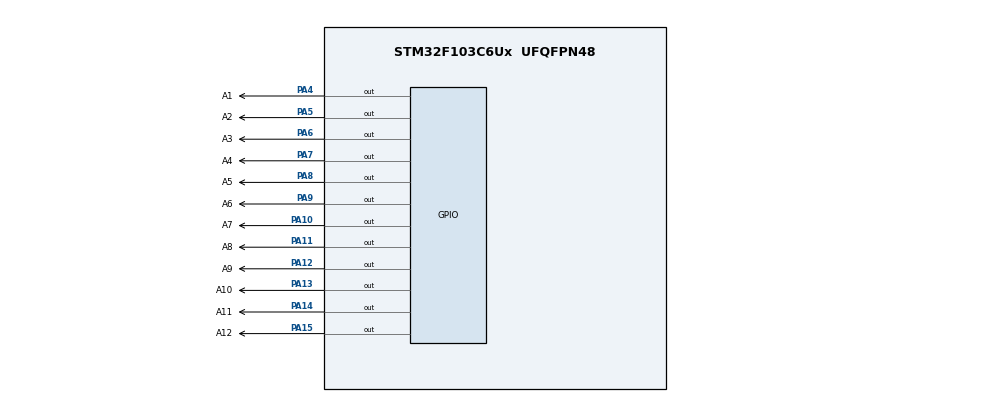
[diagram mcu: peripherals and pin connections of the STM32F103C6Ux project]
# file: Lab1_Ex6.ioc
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Mcu.Family=STM32F1
Mcu.Name=STM32F103C6Ux
Mcu.Package=UFQFPN48
NVIC.PriorityGroup=NVIC_PRIORITYGROUP_4
PA10.GPIO_Label=A7
PA10.Signal=GPIO_Output
PA11.GPIO_Label=A8
PA11.Signal=GPIO_Output
PA12.GPIO_Label=A9
PA12.Signal=GPIO_Output
PA13.GPIO_Label=A10
PA13.Signal=GPIO_Output
PA14.GPIO_Label=A11
PA14.Signal=GPIO_Output
PA15.GPIO_Label=A12
PA15.Signal=GPIO_Output
PA4.GPIO_Label=A1
PA4.Signal=GPIO_Output
PA5.GPIO_Label=A2
PA5.Signal=GPIO_Output
PA6.GPIO_Label=A3
PA6.Signal=GPIO_Output
PA7.GPIO_Label=A4
PA7.Signal=GPIO_Output
PA8.GPIO_Label=A5
PA8.Signal=GPIO_Output
PA9.GPIO_Label=A6
PA9.Signal=GPIO_Output
ProjectManager.HeapSize=0x200
ProjectManager.StackSize=0x400
ProjectManager.TargetToolchain=STM32CubeIDE
RCC.APB1Freq_Value=8000000
RCC.APB2Freq_Value=8000000
VP_SYS_VS_ND.Mode=No_Debug
board=custom

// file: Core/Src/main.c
/* USER CODE BEGIN Header */
/**
  ******************************************************************************
  * @file           : main.c
  * @brief          : Main program body
  ******************************************************************************
  * @attention
  *
  * <h2><center>&copy; Copyright (c) 2025 STMicroelectronics.
  * All rights reserved.</center></h2>
  *
  * This software component is licensed by ST under BSD 3-Clause license,
  * the "License"; You may not use this file except in compliance with the
  * License. You may obtain a copy of the License at:
  *                        opensource.org/licenses/BSD-3-Clause
  *
  ******************************************************************************
  */
/* USER CODE END Header */
#include "main.h"

void SystemClock_Config(void);
static void MX_GPIO_Init(void);

int main(void)
{

  /* MCU Configuration--------------------------------------------------------*/

  /* Reset of all peripherals, Initializes the Flash interface and the Systick. */
  HAL_Init();

  /* Configure the system clock */
  SystemClock_Config();

  /* Initialize all configured peripherals */
  MX_GPIO_Init();

  /* Infinite loop */
  /* USER CODE BEGIN WHILE */
  while (1)
  {

	  HAL_GPIO_WritePin(A1_GPIO_Port, A1_Pin, GPIO_PIN_RESET);

	  HAL_Delay(1000);

	  HAL_GPIO_WritePin(A1_GPIO_Port, A1_Pin, GPIO_PIN_SET);
	  HAL_GPIO_WritePin(A2_GPIO_Port, A2_Pin, GPIO_PIN_RESET);

	  HAL_Delay(1000);

	  HAL_GPIO_WritePin(A2_GPIO_Port, A2_Pin, GPIO_PIN_SET);
	  HAL_GPIO_WritePin(A3_GPIO_Port, A3_Pin, GPIO_PIN_RESET);

	  HAL_Delay(1000);

	  HAL_GPIO_WritePin(A3_GPIO_Port, A3_Pin, GPIO_PIN_SET);
	  HAL_GPIO_WritePin(A4_GPIO_Port, A4_Pin, GPIO_PIN_RESET);

	  HAL_Delay(1000);

	  HAL_GPIO_WritePin(A4_GPIO_Port, A4_Pin, GPIO_PIN_SET);
	  HAL_GPIO_WritePin(A5_GPIO_Port, A5_Pin, GPIO_PIN_RESET);

	  HAL_Delay(1000);

	  HAL_GPIO_WritePin(A5_GPIO_Port, A5_Pin, GPIO_PIN_SET);
	  HAL_GPIO_WritePin(A6_GPIO_Port, A6_Pin, GPIO_PIN_RESET);

	  HAL_Delay(1000);

	  HAL_GPIO_WritePin(A6_GPIO_Port, A6_Pin, GPIO_PIN_SET);
	  HAL_GPIO_WritePin(A7_GPIO_Port, A7_Pin, GPIO_PIN_RESET);

	  HAL_Delay(1000);

	  HAL_GPIO_WritePin(A7_GPIO_Port, A7_Pin, GPIO_PIN_SET);
	  HAL_GPIO_WritePin(A8_GPIO_Port, A8_Pin, GPIO_PIN_RESET);

	  HAL_Delay(1000);

	  HAL_GPIO_WritePin(A8_GPIO_Port, A8_Pin, GPIO_PIN_SET);
	  HAL_GPIO_WritePin(A9_GPIO_Port, A9_Pin, GPIO_PIN_RESET);

	  HAL_Delay(1000);

	  HAL_GPIO_WritePin(A9_GPIO_Port, A9_Pin, GPIO_PIN_SET);
	  HAL_GPIO_WritePin(A10_GPIO_Port, A10_Pin, GPIO_PIN_RESET);

	  HAL_Delay(1000);

	  HAL_GPIO_WritePin(A10_GPIO_Port, A10_Pin, GPIO_PIN_SET);
	  HAL_GPIO_WritePin(A11_GPIO_Port, A11_Pin, GPIO_PIN_RESET);

	  HAL_Delay(1000);

	  HAL_GPIO_WritePin(A11_GPIO_Port, A11_Pin, GPIO_PIN_SET);
	  HAL_GPIO_WritePin(A12_GPIO_Port, A12_Pin, GPIO_PIN_RESET);

	  HAL_Delay(1000);

	  HAL_GPIO_WritePin(A12_GPIO_Port, A12_Pin, GPIO_PIN_SET);

    /* USER CODE END WHILE */

  }
}

void SystemClock_Config(void)
{
  RCC_OscInitTypeDef RCC_OscInitStruct = {0};
  RCC_ClkInitTypeDef RCC_ClkInitStruct = {0};

  /** Initializes the RCC Oscillators according to the specified parameters
  * in the RCC_OscInitTypeDef structure.
  */
  RCC_OscInitStruct.OscillatorType = RCC_OSCILLATORTYPE_HSI;
  RCC_OscInitStruct.HSIState = RCC_HSI_ON;
  RCC_OscInitStruct.HSICalibrationValue = RCC_HSICALIBRATION_DEFAULT;
  RCC_OscInitStruct.PLL.PLLState = RCC_PLL_NONE;
  if (HAL_RCC_OscConfig(&RCC_OscInitStruct) != HAL_OK)
  {
    Error_Handler();
  }
  /** Initializes the CPU, AHB and APB buses clocks
  */
  RCC_ClkInitStruct.ClockType = RCC_CLOCKTYPE_HCLK|RCC_CLOCKTYPE_SYSCLK
                              |RCC_CLOCKTYPE_PCLK1|RCC_CLOCKTYPE_PCLK2;
  RCC_ClkInitStruct.SYSCLKSource = RCC_SYSCLKSOURCE_HSI;
  RCC_ClkInitStruct.AHBCLKDivider = RCC_SYSCLK_DIV1;
  RCC_ClkInitStruct.APB1CLKDivider = RCC_HCLK_DIV1;
  RCC_ClkInitStruct.APB2CLKDivider = RCC_HCLK_DIV1;

  if (HAL_RCC_ClockConfig(&RCC_ClkInitStruct, FLASH_LATENCY_0) != HAL_OK)
  {
    Error_Handler();
  }
}

static void MX_GPIO_Init(void)
{
  GPIO_InitTypeDef GPIO_InitStruct = {0};

  /* GPIO Ports Clock Enable */
  __HAL_RCC_GPIOA_CLK_ENABLE();

  /*Configure GPIO pin Output Level */
  HAL_GPIO_WritePin(GPIOA, A1_Pin|A2_Pin|A3_Pin|A4_Pin
                          |A5_Pin|A6_Pin|A7_Pin|A8_Pin
                          |A9_Pin|A10_Pin|A11_Pin|A12_Pin, GPIO_PIN_SET);

  /*Configure GPIO pins : A1_Pin A2_Pin A3_Pin A4_Pin
                           A5_Pin A6_Pin A7_Pin A8_Pin
                           A9_Pin A10_Pin A11_Pin A12_Pin */
  GPIO_InitStruct.Pin = A1_Pin|A2_Pin|A3_Pin|A4_Pin
                          |A5_Pin|A6_Pin|A7_Pin|A8_Pin
                          |A9_Pin|A10_Pin|A11_Pin|A12_Pin;
  GPIO_InitStruct.Mode = GPIO_MODE_OUTPUT_PP;
  GPIO_InitStruct.Pull = GPIO_NOPULL;
  GPIO_InitStruct.Speed = GPIO_SPEED_FREQ_LOW;
  HAL_GPIO_Init(GPIOA, &GPIO_InitStruct);

}

void Error_Handler(void)
{
  __disable_irq();
  while (1)
  {
  }
}

/************************ (C) COPYRIGHT STMicroelectronics *****END OF FILE****/
